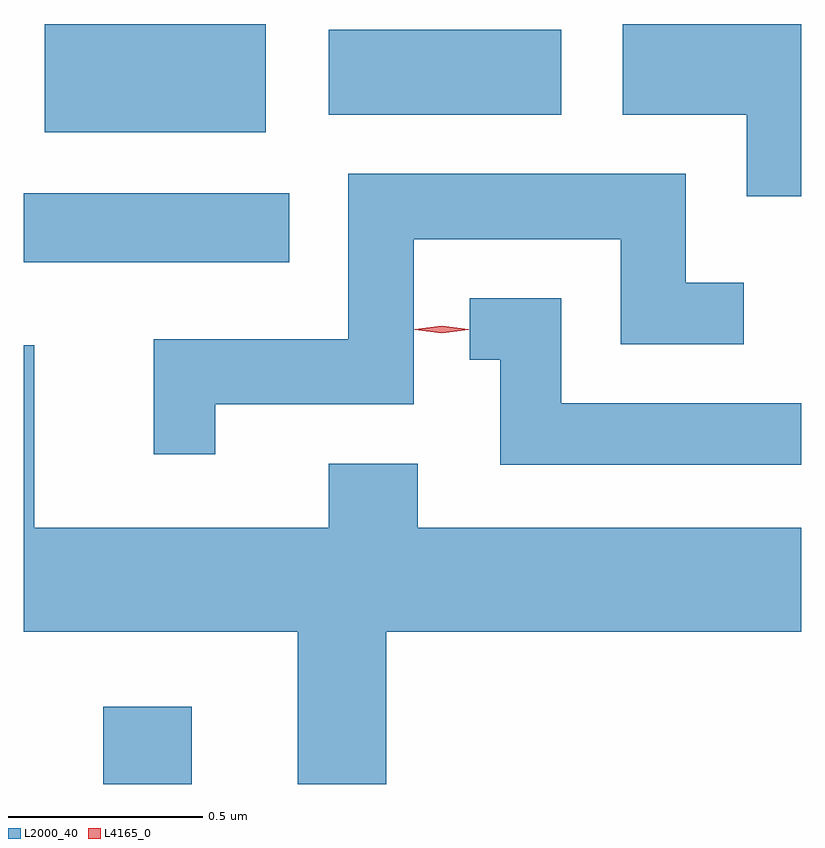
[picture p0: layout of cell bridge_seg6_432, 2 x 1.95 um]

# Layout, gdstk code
import gdstk
lib = gdstk.Library(unit=1e-6, precision=1e-09)
def R(c, l, rs):  # rectangles x0, y0, x1, y1
    for r in rs: c.add(gdstk.rectangle(r[:2], r[2:], *l))
def P(c, l, *ps):  # polygons
    for p in ps: c.add(gdstk.Polygon(p, *l))
L2000_40 = (2000, 40)
L4165_0 = (4165, 0)

bridge_seg6_432 = lib.new_cell('bridge_seg6_432')
R(bridge_seg6_432, L2000_40, [(880.671,1611.805,880.899,1612.004), (880.466,1613.146,881.149,1613.324), (880.521,1613.481,881.089,1613.759), (881.251,1613.526,881.849,1613.744)])
P(bridge_seg6_432, L2000_40, [(882.466,1613.759),(882.006,1613.759),(882.006,1613.526),(882.326,1613.526),(882.326,1613.316),(882.466,1613.316)],
  [(880.959,1612.781),(881.469,1612.781),(881.469,1613.206),(882.001,1613.206),(882.001,1612.936),(882.318,1612.936),(882.318,1613.094),(882.169,1613.094),(882.169,1613.374),(881.301,1613.374),(881.301,1612.949),(880.801,1612.949),(880.801,1612.653),(880.959,1612.653)],
  [(882.466,1612.784),(881.849,1612.784),(881.849,1613.054),(881.613,1613.054),(881.613,1612.896),(881.691,1612.896),(881.691,1612.626),(882.466,1612.626)],
  [(881.399,1612.196),(882.466,1612.196),(882.466,1612.464),(881.479,1612.464),(881.479,1612.629),(881.251,1612.629),(881.251,1612.464),(880.494,1612.464),(880.494,1612.933),(880.466,1612.933),(880.466,1612.196),(881.171,1612.196),(881.171,1611.805),(881.399,1611.805)])
P(bridge_seg6_432, L4165_0, [(881.541,1612.964),(881.472,1612.973),(881.472,1612.973),(881.472,1612.974),(881.541,1612.983),(881.611,1612.974),(881.611,1612.973),(881.611,1612.973)])

lib.write_gds('bridge_seg6_432.gds')
